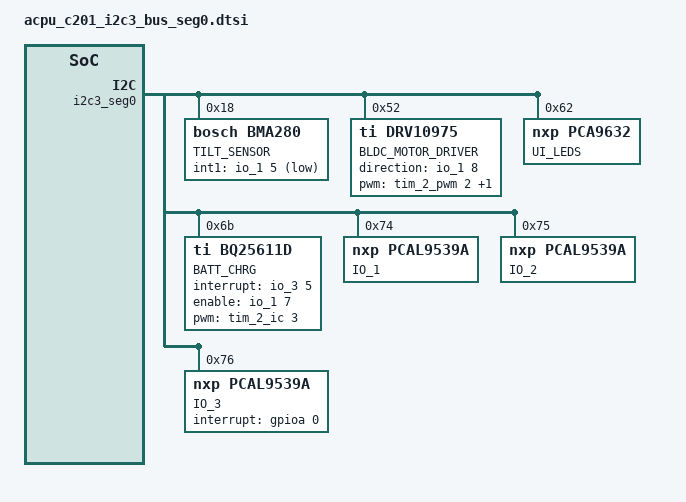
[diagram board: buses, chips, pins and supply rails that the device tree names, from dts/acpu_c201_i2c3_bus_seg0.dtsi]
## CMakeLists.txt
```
# SPDX-License-Identifier: Apache-2.0

#list(APPEND ZEPHYR_EXTRA_MODULES ${CMAKE_CURRENT_SOURCE_DIR}/modules)

cmake_minimum_required(VERSION 3.13.1)

set(PROJ_ROOT ${CMAKE_CURRENT_SOURCE_DIR}/)
set(DTS_ROOT ${CMAKE_CURRENT_SOURCE_DIR}/dts)

#set(DTC_OVERLAY_FILE "boards/stm32g473_acme_cpu_c201.overlay application/ui_ux/ui_menu.config")

set(BOARD_ROOT ${CMAKE_CURRENT_LIST_DIR})
set(BOARD stm32g473_acme_cpu_c201)

find_package(Zephyr HINTS $ENV{ZEPHYR_BASE})
project(settings)

FILE(GLOB app_sources src/*.c)
target_sources(app PRIVATE ${app_sources})
```

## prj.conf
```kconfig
CONFIG_STDOUT_CONSOLE=y

#--- any file system
CONFIG_FLASH=y
CONFIG_FILE_SYSTEM=y
CONFIG_FLASH_PAGE_LAYOUT=y
CONFIG_FLASH_MAP=y

#----little file system
CONFIG_FILE_SYSTEM_LITTLEFS=y

#----settings with file system
CONFIG_SETTINGS=y
CONFIG_SETTINGS_RUNTIME=y

CONFIG_NVS=y
CONFIG_SETTINGS_NVS=y
CONFIG_ARM_MPU=n

#CONFIG_SETTINGS_FS=y
#CONFIG_SETTINGS_FS_DIR="/ff/settings"
#CONFIG_SETTINGS_FS_FILE="/ff/settings/run"
```

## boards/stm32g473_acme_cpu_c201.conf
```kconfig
CONFIG_FPU=y

#CONFIG_BSP_GPIO_DRIVER=y

#CONFIG_BLOWER_MOTOR_A2=y

# Enable DMA
CONFIG_DMA=y
CONFIG_DMA_STM32=y

#CONFIG_ADC=y

#CONFIG_DAC=y
#CONFIG_DAC_STM32=y

CONFIG_SPI=y
CONFIG_SPI_STM32_INTERRUPT=y
# Enable DMA support for STM32 SPI bus
CONFIG_SPI_STM32_DMA=y

#CONFIG_I2C=y
#CONFIG_I2C_MGM_PCA95XX=y
#CONFIG_I2C_MGM_PCA95XX_INTERRUPT=y
#CONFIG_GPIO_PCA95XX=y
#CONFIG_GPIO_PCA95XX_INT_EXT=y
#CONFIG_GPIO_PCA95XX_INTERRUPT=y

#CONFIG_GPIO_PCAL9539A=y
#CONFIG_GPIO_PCAL9539A_INTERRUPT=y

#CONFIG_PWM=y
#CONFIG_PWM_CAPTURE=y
#CONFIG_TIM_IC=y
#CONFIG_TIM_IC_STM32=y

#CONFIG_SENSOR=y
#CONFIG_BMA280=y
#CONFIG_BME280=y

#CONFIG_ACPU_C201_BSP_DRIVER=y

#CONFIG_DRV10975=y
#CONFIG_STSPIN220=y
#CONFIG_BQ25611D=y
#CONFIG_BQ25611D_INTERRUPT=y

#CONFIG_COUNTER=y
#CONFIG_COUNTER_RTC_STM32_CLOCK_LSE=y
#CONFIG_COUNTER_RTC_STM32_BACKUP_DOMAIN_RESET=n
#CONFIG_COUNTER_RTC_STM32_LSE_DRIVE_MEDIUMHIGH=y

#CONFIG_DISPLAY=y
#CONFIG_ST7789V=y
#CONFIG_CHARACTER_FRAMEBUFFER=y

#CONFIG_ACME_CPU_C201_LED=y
#CONFIG_PCA9632=y

#CONFIG_MODEM=y
#CONFIG_MODEM_GSM_PPP=y

#CONFIG_EEPROM=y
#CONFIG_EEPROM_AT24=y

#CONFIG_DISK_ACCESS=y
#CONFIG_FILE_SYSTEM=y
#CONFIG_FAT_FILESYSTEM_ELM=y
#CONFIG_FS_FATFS_LFN=y
#CONFIG_FS_FATFS_MAX_LFN=64
#CONFIG_DISK_DRIVER_SDMMC=y
#CONFIG_DISK_ACCESS_SPI_SDHC=y

CONFIG_FLASH=y
#CONFIG_DISK_ACCESS_FLASH=y
#CONFIG_DISK_FLASH_START=0x10
#CONFIG_DISK_FLASH_MAX_RW_SIZE=100
#CONFIG_DISK_FLASH_ERASE_ALIGNMENT=0x10
#CONFIG_DISK_ERASE_BLOCK_SIZE=0x10
#CONFIG_DISK_VOLUME_SIZE=0x2000
CONFIG_FLASH_STM32_QSPI=y

CONFIG_SHELL=y

CONFIG_CONSOLE=y
CONFIG_SERIAL=y
CONFIG_STDOUT_CONSOLE=y
CONFIG_UART_INTERRUPT_DRIVEN=y
CONFIG_UART_LINE_CTRL=y
CONFIG_UART_CONSOLE=y
CONFIG_UART_CONSOLE_INIT_PRIORITY=60

# Do not disable the CONFIG_APP_LOGGER
#CONFIG_APP_LOGGER=y
#CONFIG_APP_LOGGER_SD_CARD=y
#CONFIG_APP_LOGGER_MAX_CURR_FILESIZE_MB=1
#CONFIG_APP_LOGGER_MAX_FILE_COUNT=3

#CONFIG_LOG_MODE_OVERFLOW=y
#CONFIG_LOG_PROCESS_THREAD=y
#CONFIG_LOG_PROCESS_THREAD_SLEEP_MS=1000
#CONFIG_LOG_PROCESS_THREAD_STACK_SIZE=2048
#CONFIG_LOG_BUFFER_SIZE=2048

#CONFIG_USB=y
#CONFIG_USB_DEVICE_STACK=y
#CONFIG_USB_CDC_ACM=y
#CONFIG_USB_DEVICE_PRODUCT="Zephyr CDC ACM Sample"
#CONFIG_USB_UART_CONSOLE=y
#CONFIG_UART_CONSOLE_ON_DEV_NAME="CDC_ACM_0"
```

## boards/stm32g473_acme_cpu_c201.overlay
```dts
/*
 * Copyright (c) 2021 Acme CPU
 *
 * SPDX-License-Identifier: Apache-2.0
 */
```

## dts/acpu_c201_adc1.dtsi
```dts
/*
 * Copyright (c) 2021 Acme CPU
 *
 * SPDX-License-Identifier: Apache-2.0
 */


&adc1 {
    status = "okay";
    pinctrl-0 = <&adc1_in6_pc0 &adc1_in7_pc1 &adc1_in8_pc2>;
};
```

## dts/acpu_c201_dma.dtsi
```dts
/*
 * Copyright (c) 2021 Acme CPU
 *
 * SPDX-License-Identifier: Apache-2.0
 */

&dma1 {
	status = "okay";
};

&dma2 {
	status = "okay";
};

&dmamux1 {
	status = "okay";
};
```

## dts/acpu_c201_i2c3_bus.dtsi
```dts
/*
 * Copyright (c) 2021 Acme CPU
 *
 * SPDX-License-Identifier: Apache-2.0
 */


&i2c3 {
	status = "okay";
	pinctrl-0 = <&i2c3_scl_pc8 &i2c3_sda_pc9>;
	clock-frequency = <I2C_BITRATE_FAST>;
/*
  compatible = "st,stm32-i2c-dma-v2";
  dmas = <&dma1 0 0 0x0 0x0>,
	 <&dma1 0 0 0x0 0x0>;
  dma-names = "tx","rx";
  dma-label-tx = "DMA_TX_I2C_3";
  dma-label-rx = "DMA_RX_I2C_3";
*/

    i2c_mux: pca9545a@70 {
      compatible = "ti,pca9545a";
      reg = <0x70>;
      channel-number = <4>;
      label = "I2C_BUS_SWITCH";
      #address-cells = <1>;
      #size-cells = <0>;
      #gpio-cells = <2>;

      interrupt-gpios = <&gpioc 3 (GPIO_INPUT | GPIO_INT_EDGE_FALLING)>;
      reset-gpios = <&gpioa 8 GPIO_OUTPUT_ACTIVE>;
  
      i2c3_seg0: i2c-mux-ch@0 {
        #address-cells = <1>;
        #size-cells = <0>;
        reg = <0>;
        label = "I2C3_SEG_0";
      };

      i2c3_seg1: i2c-mux-ch@1 {
        #address-cells = <1>;
        #size-cells = <0>;
        reg = <1>;
        label = "I2C3_SEG_1";
      };
  
      i2c3_seg2: i2c-mux-ch@2 {
        #address-cells = <1>;
        #size-cells = <0>;
        reg = <2>;
        label = "I2C3_SEG_2";
      };

      i2c3_seg3: i2c-mux-ch@3 {
        #address-cells = <1>;
        #size-cells = <0>;
        reg = <3>;
        label = "I2C3_SEG_3";
      };

    };
};
```

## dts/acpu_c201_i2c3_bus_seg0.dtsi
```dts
/*
 * Copyright (c) 2021 Acme CPU
 *
 * SPDX-License-Identifier: Apache-2.0
 */

&i2c3_seg0 {

  bma253@18 {
    compatible = "bosch,bma280";
    reg = <0x18>;
    label = "TILT_SENSOR";
    int1-gpios = <&io_1 5 GPIO_ACTIVE_LOW>;
  };

  drv10975@52 {
    compatible = "ti,drv10975";
    reg = <0x52>;
    label = "BLDC_MOTOR_DRIVER";
    direction-gpios = <&io_1 8 GPIO_ACTIVE_HIGH>;
    pwms = <&tim_2_pwm 2 10000000 0>,
           <&tim_2_ic 1 10000000 0>;
    pwm-names = "SPEED","TACHO";
  };


  led_drv: pca9632@62 {
    compatible = "nxp,pca9632";
    reg = <0x62>;
    label = "UI_LEDS";
    #pwm-cells = <1>;
  };


  bq25611d@6b {
    compatible = "ti,bq25611d";
    reg = <0x6b>;
    label = "BATT_CHRG";
    interrupt-gpios = <&io_3 5 (GPIO_INPUT | GPIO_PULL_UP | GPIO_INT_LEVEL_LOW)>;
    enable-gpios = <&io_1 7 GPIO_ACTIVE_HIGH>;
    pwms = <&tim_2_ic 3 10000000 0>;
    pwm-names = "bc-status";
};


  io_1: pcal9539@74 {
    compatible = "nxp,pcal9539a";
    reg = <0x74>;
    gpio-controller;
    has-pud;
    /*interrupt-gpios = <&i2c_mux 0 (GPIO_INPUT | GPIO_INT_EDGE_FALLING)>;*/
    #gpio-cells = <2>;
    ngpios = <16>;
    label = "IO_1";
  };

  io_2: pcal9539@75 {
    compatible = "nxp,pcal9539a";
    reg = <0x75>;
    gpio-controller;
    has-pud;
    /*interrupt-gpios = <&io_1 6 (GPIO_INPUT | GPIO_INT_EDGE_FALLING)>;*/
    #gpio-cells = <2>;
    ngpios = <16>;
    label = "IO_2";
  };

  io_3: pcal9539@76 {
    compatible = "nxp,pcal9539a";
    reg = <0x76>;
    gpio-controller;
    has-pud;
    interrupt-gpios = <&gpioa 0 (GPIO_INPUT | GPIO_INT_EDGE_FALLING)>;
    #gpio-cells = <2>;
    ngpios = <16>;
    label = "IO_3";
  };

};
```

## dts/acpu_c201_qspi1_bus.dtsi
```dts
/*
 * Copyright (c) 2021 Acme CPU
 *
 * SPDX-License-Identifier: Apache-2.0
 */


&pinctrl {
	quadspi_bk1_ncs_pa2: quadspi_bk1_ncs_pa2 {
		pinmux = <STM32_PINMUX('A', 2, AF10)>;
                slew-rate = "very-high-speed";
	};

	quadspi_clk_pa3: quadspi_clk_pa3 {
		pinmux = <STM32_PINMUX('A', 3, AF10)>;
		slew-rate = "very-high-speed";
	};

	quadspi_bk1_io3_pa6: quadspi_bk1_io3_pa6 {
		pinmux = <STM32_PINMUX('A', 6, AF10)>;
		slew-rate = "very-high-speed";
	};

	quadspi_bk1_io2_pa7: quadspi_bk1_io2_pa7 {
		pinmux = <STM32_PINMUX('A', 7, AF10)>;
		slew-rate = "very-high-speed";
	};

	quadspi_bk1_io1_pb0: quadspi_bk1_io1_pb0 {
		pinmux = <STM32_PINMUX('B', 0, AF10)>;
		slew-rate = "very-high-speed";
	};

	quadspi_bk1_io0_pb1: quadspi_bk1_io0_pb1 {
		pinmux = <STM32_PINMUX('B', 1, AF10)>;
		slew-rate = "very-high-speed";
	};

	quadspi_clk_pb10: quadspi_clk_pb10 {
		pinmux = <STM32_PINMUX('B', 10, AF10)>;
		slew-rate = "very-high-speed";
	};

	quadspi_bk1_ncs_pb11: quadspi_bk1_ncs_pb11 {
		pinmux = <STM32_PINMUX('B', 11, AF10)>;
		slew-rate = "very-high-speed";
	};
};

&quadspi {
    status = "okay";
      pinctrl-0 = <&quadspi_clk_pa3 &quadspi_bk1_ncs_pa2
                   &quadspi_bk1_io0_pb1 &quadspi_bk1_io1_pb0
                   &quadspi_bk1_io2_pa7 &quadspi_bk1_io3_pa6>;
                   
/* Ref:
		rm0440 pg. 426,
		zephyr/tests/drivers/spi/spi_loopback/boards/nucleo_g474re.overlay
		st,stm32-qspi.yaml
		stm32_dma.h
	
	dmas = <&dmamux1 2 40 0x30000 0x00>;
	dma-names = "tx_rx";
*/
	dmas = <&dmamux1 15 40 0x0000 0x00>;
	dma-names = "tx_rx";

	
	mt25ql256aba1: mt25ql256aba1@0 {
		compatible = "st,stm32-qspi-nor";
        label = "MT25QL256ABA1";
        reg = <0>;
        qspi-max-frequency = <170000000>;
        size = <0xF424000>;
        jedec-id = [20 BA 19];
        status = "okay";
/*        
		partitions {
			compatible = "fixed-partitions";
			#address-cells = <1>;
			#size-cells = <1>;
			
			partition@0 {
				label = "settings";
				reg = <0x00000000 0x00008000>;
			};
		};
*/
	};
};
```

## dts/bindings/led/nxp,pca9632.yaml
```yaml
# Copyright (c) 2020, Volodymyr Sirous
# SPDX-License-Identifier: Apache-2.0

description: PCAL9632 4-bit Fm+ I2C Controlled low power LED driver

include: i2c-device.yaml

compatible: "nxp,pca9632"

properties:

  label:
    required: true

  "#pwm-cells":
    type: int
    required: true
    const: 1

pwm-cells:
  - channel
```

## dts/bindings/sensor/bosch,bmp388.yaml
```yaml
# Copyright (c) 2019, Linaro Limited
# Copyright (c) 2020, Volodymyr Sirous
# SPDX-License-Identifier: Apache-2.0

description: |
    Bosch BMP388 Digital pressure and temperature sensor.  See more info at:
    https://www.bosch-sensortec.com/media/boschsensortec/downloads/datasheets/bst-bmp388-ds001.pdf

compatible: "bosch,zbmp388"

include: i2c-device.yaml

properties:
    int-gpios:
      type: phandle-array
      required: false
```

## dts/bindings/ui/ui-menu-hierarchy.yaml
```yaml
# Copyright (c) 2020, Volodymyr Sirous
# SPDX-License-Identifier: Apache-2.0

include: "base.yaml"

compatible: "menu-entry"

description: Defines entry point of the menu

properties:
  label:
    required: true
  menu:
    type: phandle
    required: true
```

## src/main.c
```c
/*
 * Copyright (c) 2019 Nordic Semiconductor ASA
 *
 * SPDX-License-Identifier: Apache-2.0
 */

#include <stdio.h>
#include <string.h>

#include "settings/settings.h"

#include <errno.h>
#include <sys/printk.h>

#define SECTION_BEGIN_LINE "\n=================================================\n"

uint8_t angle_val;
uint64_t length_val = 100;
uint16_t length_1_val = 40;
uint32_t length_2_val = 60;

int alpha_handle_set(const char *name, size_t len, settings_read_cb read_cb, void *cb_arg);
int alpha_handle_commit(void);
int alpha_handle_export(int (*cb)(const char *name, const void *value, size_t val_len));

/* dynamic main tree handler */
struct settings_handler alph_handler = {
		.name = "alpha",
		.h_get = NULL,
		.h_set = alpha_handle_set,
		.h_commit = alpha_handle_commit,
		.h_export = alpha_handle_export
};

int alpha_handle_set(const char *name, size_t len, settings_read_cb read_cb,
		  void *cb_arg)
{
	const char *next;
	size_t next_len;
	int rc;

	if (settings_name_steq(name, "angle/1", &next) && !next) {
		if (len != sizeof(angle_val)) {
			return -EINVAL;
		}
		rc = read_cb(cb_arg, &angle_val, sizeof(angle_val));
		printk("<alpha/angle/1> = %d\n", angle_val);
		return 0;
	}

	next_len = settings_name_next(name, &next);

	if (!next) {
		return -ENOENT;
	}

	if (!strncmp(name, "length", next_len)) {
		next_len = settings_name_next(name, &next);

		if (!next) {
			rc = read_cb(cb_arg, &length_val, sizeof(length_val));
			printk("<alpha/length> = %" PRId64 "\n", length_val);
			return 0;
		}

		if (!strncmp(next, "1", next_len)) {
			rc = read_cb(cb_arg, &length_1_val,
				     sizeof(length_1_val));
			printk("<alpha/length/1> = %d\n", length_1_val);
			return 0;
		}

		if (!strncmp(next, "2", next_len)) {
			rc = read_cb(cb_arg, &length_2_val,
				     sizeof(length_2_val));
			printk("<alpha/length/2> = %d\n", length_2_val);
			return 0;
		}

		return -ENOENT;
	}

	return -ENOENT;
}

int alpha_handle_commit(void)
{
	printk("loading all settings under <alpha> handler is done\n");
	return 0;
}

int alpha_handle_export(int (*cb)(const char *name,
			       const void *value, size_t val_len))
{
	printk("export keys under <alpha> handler\n");
	(void)cb("alpha/pwr_chrg/powered_on", &angle_val, sizeof(angle_val));
	(void)cb("alpha/pwr_chrg/powered_off", &length_val, sizeof(length_val));
	(void)cb("alpha/pwr_chrg/chrg_dev_on", &length_1_val, sizeof(length_1_val));
	(void)cb("alpha/pwr_chrg/chrg_dev_off", &length_2_val, sizeof(length_2_val));

	return 0;
}

static void example_save_and_load_basic(void)
{
	settings_load();
	settings_save();
}

static void example_initialization(void)
{
	int rc;
	rc = settings_subsys_init();
	if (rc) {
		printk("settings subsys initialization: fail (err %d)\n", rc);
		return;
	}
	printk("settings subsys initialization: OK.\n");

	rc = settings_register(&alph_handler);
	if (rc) {
		printk("subtree <%s> handler registered: fail (err %d)\n",
		       alph_handler.name, rc);
	}
	printk("subtree <%s> handler registered: OK\n", alph_handler.name);
	printk("subtree <alpha/beta> has static handler\n");
}

void main(void)
{
	printk("\n*** Settings usage example ***\n\n");

	/* settings initialization */
	example_initialization();
	example_save_and_load_basic();
	printk("\n*** THE END  ***\n");
}
```
